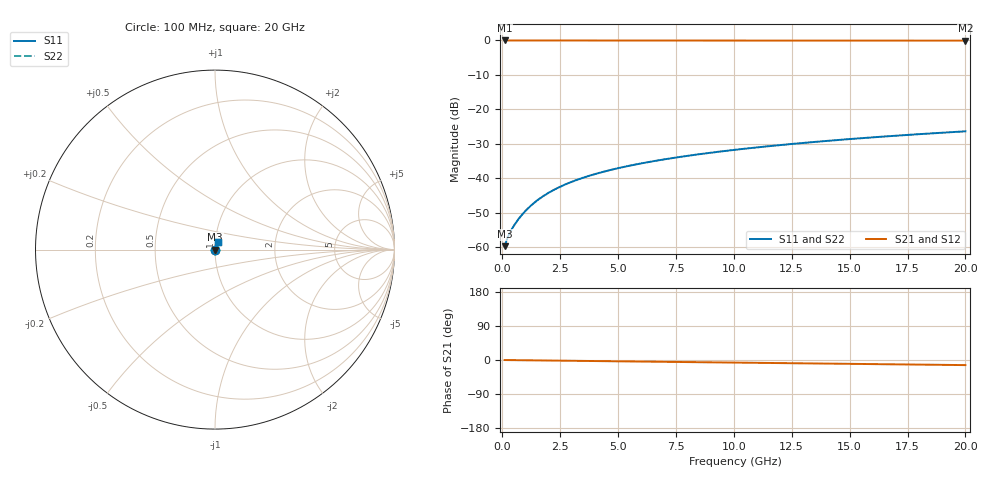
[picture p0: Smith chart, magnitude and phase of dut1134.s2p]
! Touchstone file exported from HFSS 2026.1.0
!  File:  C:/ffzhzh/LocalFiles/Ansys_Project_Files/temp_train_BSMRDL_1134_1783175352_55132.aedt
!  Generated:  10:30:24 PM Jul  4, 2026
!  Design:  BSMRDL
!  Project:  temp_train_BSMRDL_1134_1783175352_55132
! Variables:
!  h_bsmrdl = 5.4um
!  h_ox = 20um
!  h_rdl = 5um
!  h_sub = 80um
!  h_tmrdl = 5um
!  h_tsv = 80um
!  h_via = 3um
!  l_bsmrdl = 226um
!  l_sub = 626um
!  l_tmrdl = 200um
!  m_sub = 200um
!  pitch = 27.21um
!  r_tsv = 6um
!  s_tmrdl = 10um
!  w_bsmrdl = 19.28um
!  w_sub = 500um
!  w_tmrdl = 12um
!  x_tsv_center1 = 206um
!  x_tsv_center2 = 451.28um
!  x_tsv_center3 = 663.28um
!  x_tsv_center4 = 908.56um
!  x_tsv_center5 = 1120.56um
!  x_tsv_center6 = 1365.84um
# GHz S MA R 50.000000
! Terminal data exported
! Port[1] = BSM_RDL1_1_T1
! Port[2] = BSM_RDL1_1_T2
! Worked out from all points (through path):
!   200 points, 100 MHz to 20 GHz, reference 50 ohm
!   highest |S21| = -0.01 dB at 100 MHz (marker M1); lowest = -0.1 dB at 20 GHz (marker M2)
!   group delay of S21, straight-line fit = 1.86 ps
!   lowest |S11| = -59.8 dB at 100 MHz (marker M3), VSWR 1.00, Z = 50.1 + j0.0428 ohm
!   |S11| at or under -10 dB: start of sweep to end of sweep
!   |S22| runs from -59.8 to -26.4 dB; largest |S21 - S12| = 2.1e-15
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0.1  0.001026 24.6  0.9991 -0.1  0.9991 -0.1  0.001026 24.6
! Gamma 0 0 0 0
! Port Impedance 50 0 50 0
0.2  0.001292 36.9  0.999 -0.2  0.999 -0.2  0.001292 36.9
0.3  0.001546 43.9  0.9989 -0.2  0.9989 -0.2  0.001546 43.9
0.4  0.001789 49.2  0.9988 -0.3  0.9988 -0.3  0.001789 49.2
0.5  0.002033 53.4  0.9988 -0.4  0.9988 -0.4  0.002033 53.4
0.7  0.002538 59.8  0.9987 -0.5  0.9987 -0.5  0.002538 59.8
0.9  0.003067 64.1  0.9987 -0.6  0.9987 -0.6  0.003067 64.1
1.1  0.003611 67.2  0.9986 -0.8  0.9986 -0.8  0.003611 67.2
1.3  0.004165 69.3  0.9986 -0.9  0.9986 -0.9  0.004165 69.3
1.7  0.005281 72.0  0.9985 -1.2  0.9985 -1.2  0.005281 72.0
2.2  0.006669 73.7  0.9983 -1.6  0.9983 -1.6  0.006669 73.7
2.8  0.008303 74.6  0.998 -2.0  0.998 -2.0  0.008303 74.6
3.5  0.01015 74.9  0.9977 -2.4  0.9977 -2.4  0.01015 74.9
4.2  0.01195 75.0  0.9974 -2.9  0.9974 -2.9  0.01195 75.0
5  0.01394 74.9  0.9971 -3.5  0.9971 -3.5  0.01394 74.9
5.9  0.01612 74.8  0.9968 -4.1  0.9968 -4.1  0.01612 74.8
6.8  0.01826 74.6  0.9964 -4.7  0.9964 -4.7  0.01826 74.6
8.3  0.02176 74.2  0.9959 -5.7  0.9959 -5.7  0.02176 74.2
10.1  0.02589 73.6  0.9954 -6.9  0.9954 -6.9  0.02589 73.6
13.4  0.03334 72.4  0.9945 -9.1  0.9945 -9.1  0.03334 72.4
16.7  0.04065 70.8  0.9936 -11.3  0.9936 -11.3  0.04065 70.8
20  0.04782 69.2  0.9927 -13.5  0.9927 -13.5  0.04782 69.2
